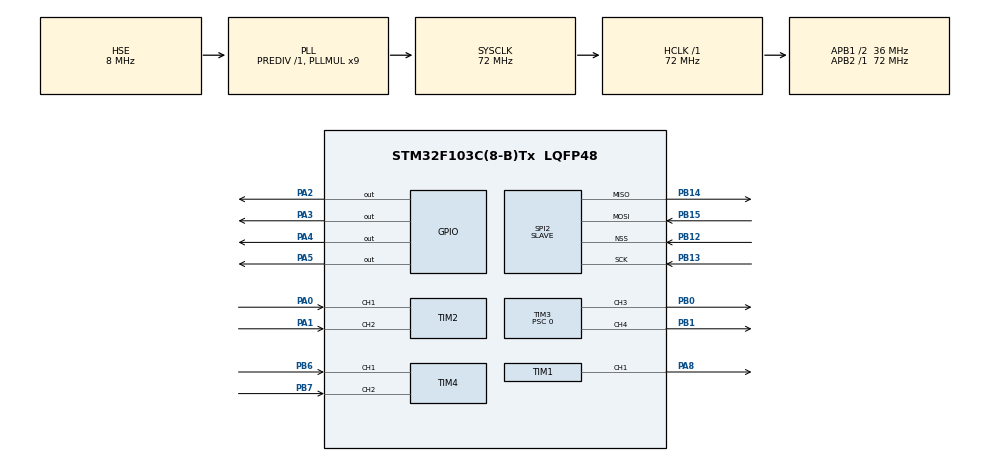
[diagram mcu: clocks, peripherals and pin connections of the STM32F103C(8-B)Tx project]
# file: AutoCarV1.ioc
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Mcu.Family=STM32F1
Mcu.Name=STM32F103C(8-B)Tx
Mcu.Package=LQFP48
NVIC.PriorityGroup=NVIC_PRIORITYGROUP_4
NVIC.SPI2_IRQn=true\:0\:0\:false\:false\:true\:true\:true\:true
PA0-WKUP.Signal=S_TIM2_CH1_ETR
PA1.Signal=S_TIM2_CH2
PA13.Mode=Serial_Wire
PA13.Signal=SYS_JTMS-SWDIO
PA14.Mode=Serial_Wire
PA14.Signal=SYS_JTCK-SWCLK
PA2.Signal=GPIO_Output
PA3.Signal=GPIO_Output
PA4.Signal=GPIO_Output
PA5.Signal=GPIO_Output
PA8.Signal=S_TIM1_CH1
PB0.Signal=S_TIM3_CH3
PB1.Signal=S_TIM3_CH4
PB12.Mode=NSS_Signal_Hard_Input
PB12.Signal=SPI2_NSS
PB13.Mode=Full_Duplex_Slave
PB13.Signal=SPI2_SCK
PB14.Mode=Full_Duplex_Slave
PB14.Signal=SPI2_MISO
PB15.Mode=Full_Duplex_Slave
PB15.Signal=SPI2_MOSI
PB6.Signal=S_TIM4_CH1
PB7.Signal=S_TIM4_CH2
PC14-OSC32_IN.Mode=LSE-External-Oscillator
PC14-OSC32_IN.Signal=RCC_OSC32_IN
PC15-OSC32_OUT.Mode=LSE-External-Oscillator
PC15-OSC32_OUT.Signal=RCC_OSC32_OUT
PD0-OSC_IN.Mode=HSE-External-Oscillator
PD0-OSC_IN.Signal=RCC_OSC_IN
PD1-OSC_OUT.Mode=HSE-External-Oscillator
PD1-OSC_OUT.Signal=RCC_OSC_OUT
ProjectManager.HeapSize=0x200
ProjectManager.StackSize=0x400
ProjectManager.TargetToolchain=STM32CubeIDE
RCC.AHBFreq_Value=72000000
RCC.APB1CLKDivider=RCC_HCLK_DIV2
RCC.APB1Freq_Value=36000000
RCC.APB1TimFreq_Value=72000000
RCC.APB2Freq_Value=72000000
RCC.APB2TimFreq_Value=72000000
RCC.HCLKFreq_Value=72000000
RCC.PLLMUL=RCC_PLL_MUL9
RCC.PLLSourceVirtual=RCC_PLLSOURCE_HSE
RCC.SYSCLKFreq_VALUE=72000000
RCC.SYSCLKSource=RCC_SYSCLKSOURCE_PLLCLK
RCC.USBFreq_Value=72000000
SH.S_TIM1_CH1.0=TIM1_CH1,PWM Generation1 CH1
SH.S_TIM2_CH1_ETR.0=TIM2_CH1,Encoder_Interface
SH.S_TIM2_CH2.0=TIM2_CH2,Encoder_Interface
SH.S_TIM3_CH3.0=TIM3_CH3,PWM Generation3 CH3
SH.S_TIM3_CH4.0=TIM3_CH4,PWM Generation4 CH4
SH.S_TIM4_CH1.0=TIM4_CH1,Encoder_Interface
SH.S_TIM4_CH2.0=TIM4_CH2,Encoder_Interface
SPI2.Direction=SPI_DIRECTION_2LINES
SPI2.Mode=SPI_MODE_SLAVE
SPI2.VirtualNSS=VM_NSSHARD
SPI2.VirtualType=VM_SLAVE
TIM1.Channel-PWM\ Generation1\ CH1=TIM_CHANNEL_1
TIM3.Channel-PWM\ Generation3\ CH3=TIM_CHANNEL_3
TIM3.Channel-PWM\ Generation4\ CH4=TIM_CHANNEL_4
TIM3.OCMode_PWM-PWM\ Generation3\ CH3=TIM_OCMODE_PWM1
TIM3.Period=7199
TIM3.Prescaler=0
board=custom

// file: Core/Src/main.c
/* USER CODE BEGIN Header */
/**
  ******************************************************************************
  * @file           : main.c
  * @brief          : Main program body
  ******************************************************************************
  * @attention
  *
  * Copyright (c) 2026 STMicroelectronics.
  * All rights reserved.
  *
  * This software is licensed under terms that can be found in the LICENSE file
  * in the root directory of this software component.
  * If no LICENSE file comes with this software, it is provided AS-IS.
  *
  ******************************************************************************
  */
/* USER CODE END Header */
#include "main.h"
#include "spi.h"
#include "tim.h"
#include "gpio.h"

/* USER CODE BEGIN Includes */
#include "motor.h"
#include "encoder.h"
#include "spi_slave.h"

/* USER CODE END Includes */

void SystemClock_Config(void);

/* USER CODE BEGIN 0 */
MOTOR_t motor_left;
MOTOR_t motor_right;
ENCODER_t encoder_left;
ENCODER_t encoder_right;
int32_t ticks = 0;

//variable for keep encoder value
volatile uint16_t target_speed_left = 0;
volatile uint16_t target_speed_right = 0;
//flag for recived massage
volatile uint8_t new_command_flag =0;

//variable for keep recived data from SPI
volatile uint8_t recv_byte = 0;
volatile uint8_t data_flag = 0;

void spi_rx_callback(uint8_t data){
	  recv_byte = data;
	  data_flag = 1;
}
/* USER CODE END 0 */

int main(void)
{

  /* MCU Configuration--------------------------------------------------------*/

  /* Reset of all peripherals, Initializes the Flash interface and the Systick. */
  HAL_Init();

  /* Configure the system clock */
  SystemClock_Config();

  /* Initialize all configured peripherals */
  MX_GPIO_Init();
  MX_TIM1_Init();
  MX_TIM2_Init();
  MX_TIM3_Init();
  MX_TIM4_Init();
  MX_SPI2_Init();
  /* USER CODE BEGIN 2 */
  motor_left.htim = &htim3;
  motor_left.channel = TIM_CHANNEL_3;
  motor_left.dir_port1 = GPIOA;
  motor_left.dir_pin1_num = GPIO_PIN_2;
  motor_left.dir_port2 = GPIOA;
  motor_left.dir_pin2_num = GPIO_PIN_3;

  encoder_left.htim = &htim2;

  motor_right.htim = &htim3;
  motor_right.channel = TIM_CHANNEL_4;
  motor_right.dir_port1 = GPIOA;
  motor_right.dir_pin1_num = GPIO_PIN_4;
  motor_right.dir_port2 = GPIOA;
  motor_right.dir_pin2_num = GPIO_PIN_5;

  encoder_right.htim = &htim4;

  Motor_Init(&motor_left);
  Encoder_Init(&encoder_left);

  Motor_SetSpeed(&motor_left, 100);

  Motor_Init(&motor_right);
  Encoder_Init(&encoder_right);

  Motor_SetSpeed(&motor_right, 100);

  SPI_Slave_Init(&hspi2, spi_rx_callback);
  /* USER CODE END 2 */

  /* Infinite loop */
  while (1)
  {

  }
}

void SystemClock_Config(void)
{
  RCC_OscInitTypeDef RCC_OscInitStruct = {0};
  RCC_ClkInitTypeDef RCC_ClkInitStruct = {0};

  /** Initializes the RCC Oscillators according to the specified parameters
  * in the RCC_OscInitTypeDef structure.
  */
  RCC_OscInitStruct.OscillatorType = RCC_OSCILLATORTYPE_HSE;
  RCC_OscInitStruct.HSEState = RCC_HSE_ON;
  RCC_OscInitStruct.HSEPredivValue = RCC_HSE_PREDIV_DIV1;
  RCC_OscInitStruct.HSIState = RCC_HSI_ON;
  RCC_OscInitStruct.PLL.PLLState = RCC_PLL_ON;
  RCC_OscInitStruct.PLL.PLLSource = RCC_PLLSOURCE_HSE;
  RCC_OscInitStruct.PLL.PLLMUL = RCC_PLL_MUL9;
  if (HAL_RCC_OscConfig(&RCC_OscInitStruct) != HAL_OK)
  {
    Error_Handler();
  }

  /** Initializes the CPU, AHB and APB buses clocks
  */
  RCC_ClkInitStruct.ClockType = RCC_CLOCKTYPE_HCLK|RCC_CLOCKTYPE_SYSCLK
                              |RCC_CLOCKTYPE_PCLK1|RCC_CLOCKTYPE_PCLK2;
  RCC_ClkInitStruct.SYSCLKSource = RCC_SYSCLKSOURCE_PLLCLK;
  RCC_ClkInitStruct.AHBCLKDivider = RCC_SYSCLK_DIV1;
  RCC_ClkInitStruct.APB1CLKDivider = RCC_HCLK_DIV2;
  RCC_ClkInitStruct.APB2CLKDivider = RCC_HCLK_DIV1;

  if (HAL_RCC_ClockConfig(&RCC_ClkInitStruct, FLASH_LATENCY_2) != HAL_OK)
  {
    Error_Handler();
  }
}

void Error_Handler(void)
{
  __disable_irq();
  while (1)
  {
  }
}
